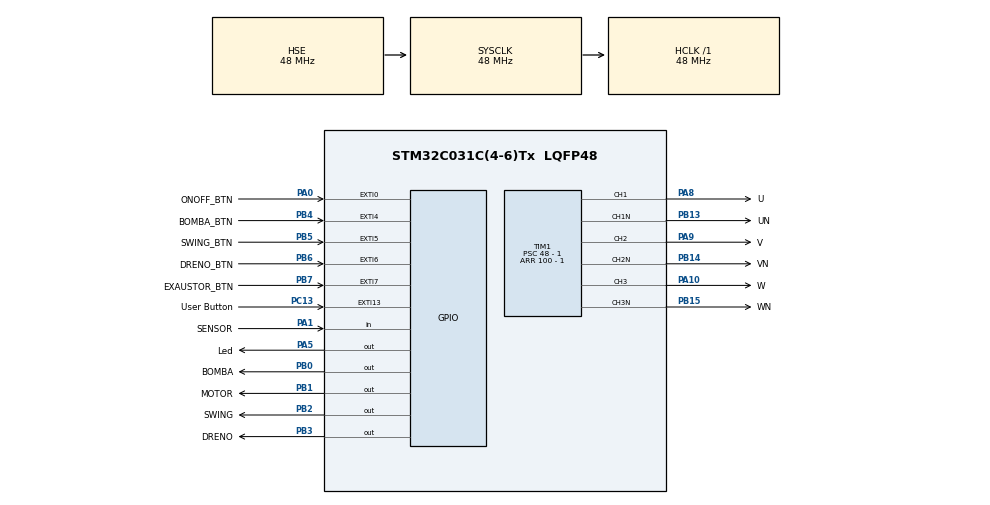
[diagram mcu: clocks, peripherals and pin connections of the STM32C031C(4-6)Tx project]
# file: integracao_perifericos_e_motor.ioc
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Mcu.Family=STM32C0
Mcu.Name=STM32C031C(4-6)Tx
Mcu.Package=LQFP48
NVIC.EXTI0_1_IRQn=true\:0\:0\:false\:false\:true\:true\:true\:true
NVIC.EXTI4_15_IRQn=true\:0\:0\:false\:false\:true\:true\:true\:true
NVIC.TIM14_IRQn=true\:0\:0\:false\:false\:true\:true\:true\:true
NVIC.TIM3_IRQn=true\:0\:0\:false\:false\:true\:true\:true\:true
PA0.GPIO_Label=ONOFF_BTN
PA0.GPIO_PuPd=GPIO_PULLDOWN
PA0.Signal=GPXTI0
PA1.GPIO_Label=SENSOR
PA1.GPIO_PuPd=GPIO_PULLDOWN
PA1.Signal=GPIO_Input
PA10.GPIO_Label=W
PA10.Signal=S_TIM1_CH3
PA13.GPIO_Label=DEBUG_SWDIO
PA13.Signal=DEBUG_SWDIO
PA14-BOOT0.GPIO_Label=DEBUG_SWCLK
PA14-BOOT0.Signal=DEBUG_SWCLK
PA2.GPIO_Label=VCP_USART2_TX
PA2.Signal=USART2_TX
PA3.GPIO_Label=VCP_USART2_RX
PA3.Signal=USART2_RX
PA5.GPIO_Label=Led
PA5.GPIO_PuPd=GPIO_PULLDOWN
PA5.GPIO_Speed=GPIO_SPEED_FREQ_VERY_HIGH
PA5.PinState=GPIO_PIN_SET
PA5.Signal=GPIO_Output
PA8.GPIO_Label=U
PA8.Signal=S_TIM1_CH1
PA9.GPIO_Label=V
PA9.Signal=S_TIM1_CH2
PB0.GPIO_Label=BOMBA
PB0.GPIO_PuPd=GPIO_PULLDOWN
PB0.Signal=GPIO_Output
PB1.GPIO_Label=MOTOR
PB1.GPIO_PuPd=GPIO_PULLDOWN
PB1.Signal=GPIO_Output
PB13.GPIO_Label=UN
PB13.Mode=PWM Generation1 CH1 CH1N
PB13.Signal=TIM1_CH1N
PB14.GPIO_Label=VN
PB14.Mode=PWM Generation2 CH2 CH2N
PB14.Signal=TIM1_CH2N
PB15.GPIO_Label=WN
PB15.Mode=PWM Generation3 CH3 CH3N
PB15.Signal=TIM1_CH3N
PB2.GPIO_Label=SWING
PB2.GPIO_PuPd=GPIO_PULLDOWN
PB2.Signal=GPIO_Output
PB3.GPIO_Label=DRENO
PB3.GPIO_PuPd=GPIO_PULLDOWN
PB3.Signal=GPIO_Output
PB4.GPIO_Label=BOMBA_BTN
PB4.GPIO_PuPd=GPIO_PULLDOWN
PB4.Signal=GPXTI4
PB5.GPIO_Label=SWING_BTN
PB5.GPIO_PuPd=GPIO_PULLDOWN
PB5.Signal=GPXTI5
PB6.GPIO_Label=DRENO_BTN
PB6.GPIO_PuPd=GPIO_PULLDOWN
PB6.Signal=GPXTI6
PB7.GPIO_Label=EXAUSTOR_BTN
PB7.GPIO_PuPd=GPIO_PULLDOWN
PB7.Signal=GPXTI7
PC13.GPIO_Label=User Button
PC13.Signal=GPXTI13
PC14-OSCX_IN\ (PC14).GPIO_Label=RCC_OSCX_IN
PC14-OSCX_IN\ (PC14).Mode=LSE-External-Oscillator
PC14-OSCX_IN\ (PC14).Signal=RCC_OSCX_IN
PC15-OSCX_OUT\ (PC15).GPIO_Label=RCC_OSCX_OUT
PC15-OSCX_OUT\ (PC15).Mode=LSE-External-Oscillator
PC15-OSCX_OUT\ (PC15).Signal=RCC_OSCX_OUT
PF0-OSC_IN\ (PF0).GPIO_Label=RCC_OSC_IN
PF0-OSC_IN\ (PF0).Mode=HSE-External-Oscillator
PF0-OSC_IN\ (PF0).Signal=RCC_OSC_IN
PF1-OSC_OUT\ (PF1).GPIO_Label=RCC_OSC_OUT
PF1-OSC_OUT\ (PF1).Mode=HSE-External-Oscillator
PF1-OSC_OUT\ (PF1).Signal=RCC_OSC_OUT
ProjectManager.HeapSize=0x200
ProjectManager.StackSize=0x400
ProjectManager.TargetToolchain=STM32CubeIDE
RCC.ADCFreq_Value=48000000
RCC.AHBFreq_Value=48000000
RCC.CortexFreq_Value=48000000
RCC.EXTERNAL_CLOCK_VALUE=12288000
RCC.HCLKFreq_Value=48000000
RCC.HSE_VALUE=48000000
RCC.HSISYSCLKDivider=RCC_HSI_DIV1
RCC.HSI_VALUE=48000000
RCC.SYSCLKFreq_VALUE=48000000
RCC.SYSCLKSource=RCC_SYSCLKSOURCE_HSE
SH.S_TIM1_CH1.0=TIM1_CH1,PWM Generation1 CH1 CH1N
SH.S_TIM1_CH2.0=TIM1_CH2,PWM Generation2 CH2 CH2N
SH.S_TIM1_CH3.0=TIM1_CH3,PWM Generation3 CH3 CH3N
TIM1.AutoReloadPreload=TIM_AUTORELOAD_PRELOAD_ENABLE
TIM1.Channel-PWM\ Generation1\ CH1\ CH1N=TIM_CHANNEL_1
TIM1.Channel-PWM\ Generation2\ CH2\ CH2N=TIM_CHANNEL_2
TIM1.Channel-PWM\ Generation3\ CH3\ CH3N=TIM_CHANNEL_3
TIM1.Period=100 - 1
TIM1.Prescaler=48 - 1
TIM1.Pulse-PWM\ Generation1\ CH1\ CH1N=50
TIM1.Pulse-PWM\ Generation2\ CH2\ CH2N=50
TIM1.Pulse-PWM\ Generation3\ CH3\ CH3N=50
TIM14.Period=1000 - 1
TIM14.Prescaler=48000 - 1
TIM3.AutoReloadPreload=TIM_AUTORELOAD_PRELOAD_ENABLE
TIM3.Period=100 - 1
TIM3.Prescaler=48 - 1
VP_TIM14_VS_ClockSourceINT.Mode=Enable_Timer
VP_TIM1_VS_ClockSourceINT.Mode=Internal
VP_TIM3_VS_ClockSourceINT.Mode=Internal
board=NUCLEO-C031C6

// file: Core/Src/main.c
/* USER CODE BEGIN Header */
/**
  ******************************************************************************
  * @file           : main.c
  * @brief          : Main program body
  ******************************************************************************
  * @attention
  *
  * Copyright (c) 2026 STMicroelectronics.
  * All rights reserved.
  *
  * This software is licensed under terms that can be found in the LICENSE file
  * in the root directory of this software component.
  * If no LICENSE file comes with this software, it is provided AS-IS.
  *
  ******************************************************************************
  */
/* USER CODE END Header */
#include "main.h"
#include "tim.h"
#include "gpio.h"

/* USER CODE BEGIN Includes */
#include "controle_motor.h"
#include "perifericos.h"
/* USER CODE END Includes */

void SystemClock_Config(void);

int main(void)
{

  /* MCU Configuration--------------------------------------------------------*/

  /* Reset of all peripherals, Initializes the Flash interface and the Systick. */
  HAL_Init();

  /* Configure the system clock */
  SystemClock_Config();

  /* Initialize all configured peripherals */
  MX_GPIO_Init();
  MX_TIM1_Init();
  MX_TIM3_Init();
  MX_TIM14_Init();
  /* USER CODE BEGIN 2 */

  HAL_TIM_Base_Start_IT(&htim14);
  perifericos_set();

  motor_init();
  HAL_TIM_PWM_Start(&htim1, TIM_CHANNEL_1);
  HAL_TIMEx_PWMN_Start(&htim1, TIM_CHANNEL_1);
  HAL_TIM_PWM_Start(&htim1, TIM_CHANNEL_2);
  HAL_TIMEx_PWMN_Start(&htim1, TIM_CHANNEL_2);
  HAL_TIM_PWM_Start(&htim1, TIM_CHANNEL_3);
  HAL_TIMEx_PWMN_Start(&htim1, TIM_CHANNEL_3);

  /* USER CODE END 2 */

  /* Infinite loop */
  /* USER CODE BEGIN WHILE */
  while (1)
  {
	  perifericos_task();
    /* USER CODE END WHILE */

    /* USER CODE BEGIN 3 */
	  motor_task();
  }
  /* USER CODE END 3 */
}

void SystemClock_Config(void)
{
  RCC_OscInitTypeDef RCC_OscInitStruct = {0};
  RCC_ClkInitTypeDef RCC_ClkInitStruct = {0};

  __HAL_FLASH_SET_LATENCY(FLASH_LATENCY_1);

  /** Initializes the RCC Oscillators according to the specified parameters
  * in the RCC_OscInitTypeDef structure.
  */
  RCC_OscInitStruct.OscillatorType = RCC_OSCILLATORTYPE_HSE;
  RCC_OscInitStruct.HSEState = RCC_HSE_ON;
  if (HAL_RCC_OscConfig(&RCC_OscInitStruct) != HAL_OK)
  {
    Error_Handler();
  }

  /** Initializes the CPU, AHB and APB buses clocks
  */
  RCC_ClkInitStruct.ClockType = RCC_CLOCKTYPE_HCLK|RCC_CLOCKTYPE_SYSCLK
                              |RCC_CLOCKTYPE_PCLK1;
  RCC_ClkInitStruct.SYSCLKSource = RCC_SYSCLKSOURCE_HSE;
  RCC_ClkInitStruct.SYSCLKDivider = RCC_SYSCLK_DIV1;
  RCC_ClkInitStruct.AHBCLKDivider = RCC_HCLK_DIV1;
  RCC_ClkInitStruct.APB1CLKDivider = RCC_APB1_DIV1;

  if (HAL_RCC_ClockConfig(&RCC_ClkInitStruct, FLASH_LATENCY_1) != HAL_OK)
  {
    Error_Handler();
  }
}

/* USER CODE BEGIN 4 */
void HAL_TIM_PeriodElapsedCallback(TIM_HandleTypeDef *htim)
{
  if (htim->Instance == TIM3)
  {
    spwm();
    calcula_rampa();
  }
  if (htim->Instance == TIM14)
  {
  	perifericos_tick();
  }
}
/* USER CODE END 4 */

void Error_Handler(void)
{
  __disable_irq();
  while (1)
  {
  }
}
